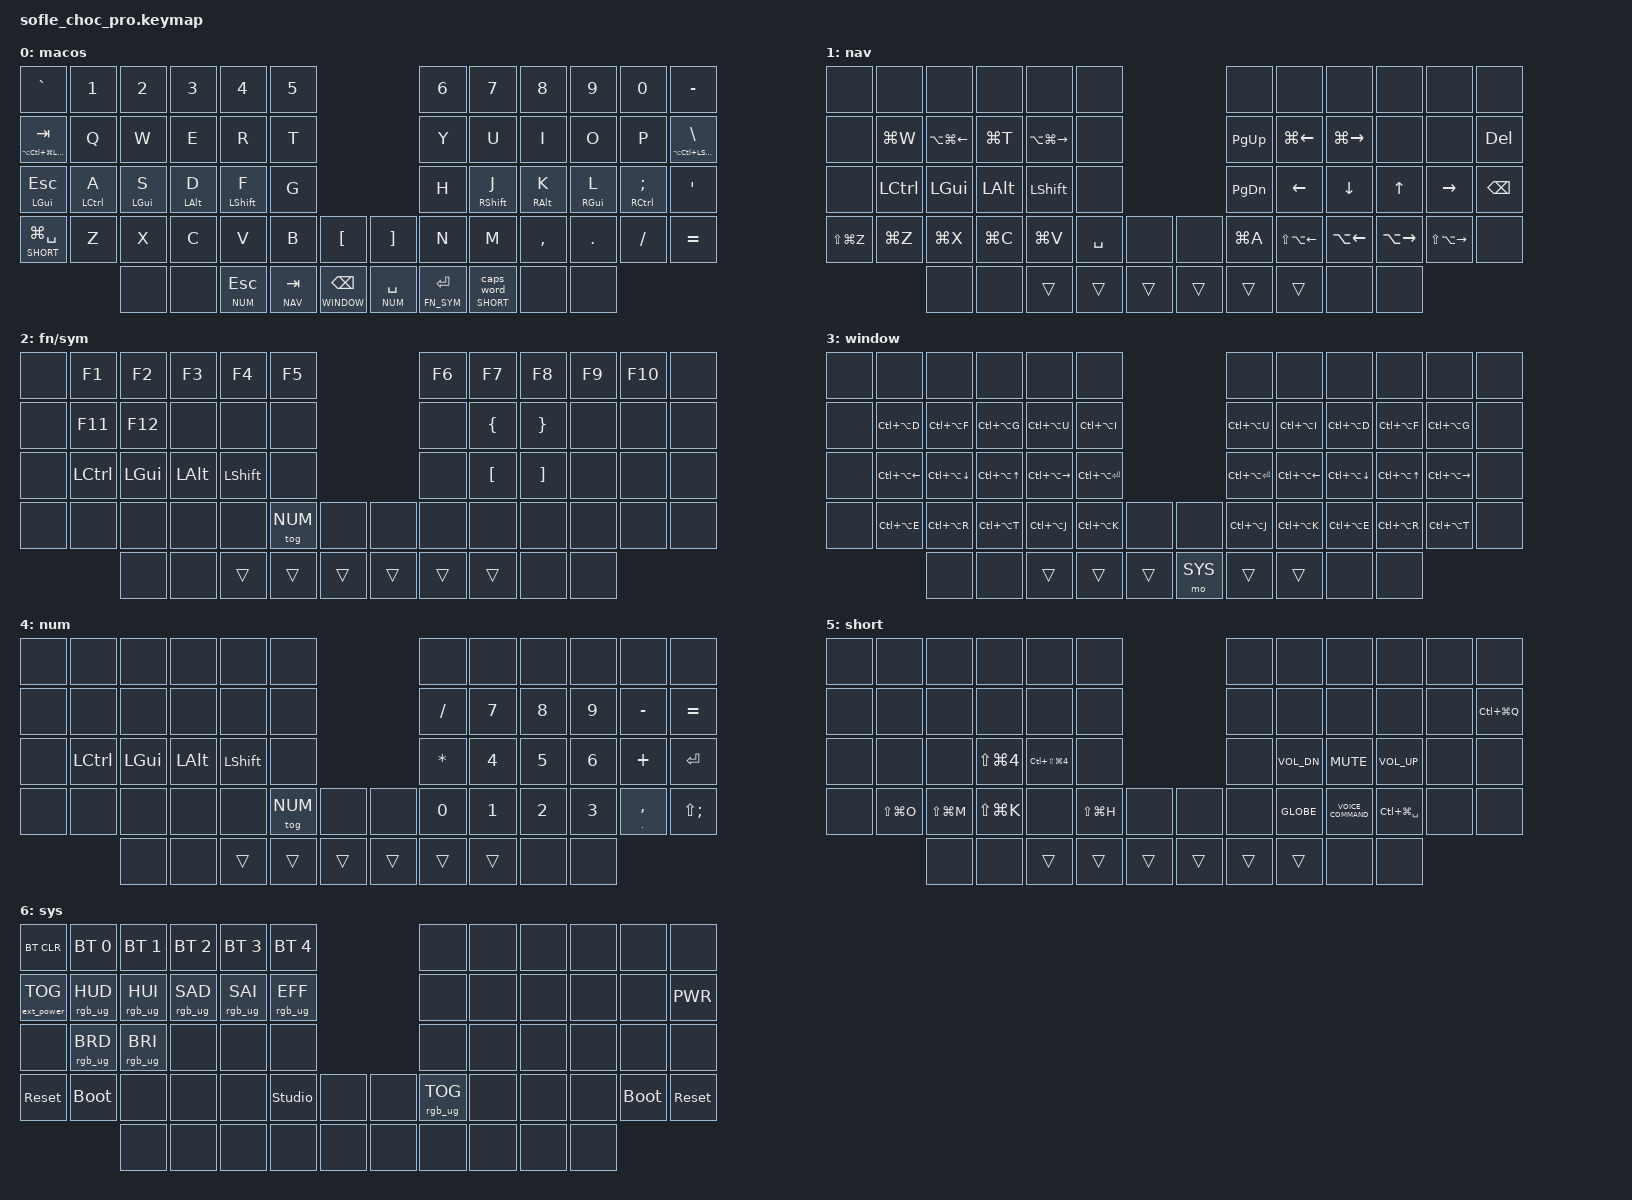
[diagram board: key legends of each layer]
/*
 * Copyright (c) 2020 The ZMK Contributors
 *
 * SPDX-License-Identifier: MIT
 */

#include <behaviors.dtsi>
#include <dt-bindings/zmk/keys.h>
#include <dt-bindings/zmk/bt.h>
#include <dt-bindings/zmk/rgb.h>
#include <dt-bindings/zmk/ext_power.h>

#define MACOS 0
#define NAV 1
#define FN_SYM 2
#define WINDOW 3
#define NUM 4
#define SHORT 5
#define SYS 6

#define LEFT_KEYS 0 1 2 3 4 5 12 13 14 15 16 17 24 25 26 27 28 29 36 37 38 39 40 41 42
#define RIGHT_KEYS 6 7 8 9 10 11 18 19 20 21 22 23 30 31 32 33 34 35 43 44 45 46 47 48 49
#define THUMBS 52 53 54 55 56 57

/ {
    behaviors {
        hml: home_row_mod_left {
            compatible = "zmk,behavior-hold-tap";
            #binding-cells = <2>;
            flavor = "balanced";
            tapping-term-ms = <280>;
            quick-tap-ms = <200>;
            bindings = <&kp>, <&kp>;
            hold-trigger-key-positions = <RIGHT_KEYS THUMBS>;
            hold-trigger-on-release;
            display-name = "Home-Row-Mod-Left";
        };

        hmr: home_row_mod_right {
            compatible = "zmk,behavior-hold-tap";
            #binding-cells = <2>;
            flavor = "balanced";
            tapping-term-ms = <280>;
            quick-tap-ms = <200>;
            bindings = <&kp>, <&kp>;
            hold-trigger-key-positions = <LEFT_KEYS THUMBS>;
            hold-trigger-on-release;
            display-name = "Home-Row-Mod-Right";
        };

        rlt: repeatable_layer_tap {
            compatible = "zmk,behavior-hold-tap";
            #binding-cells = <2>;
            flavor = "tap-preferred";
            tapping-term-ms = <200>;
            quick-tap-ms = <250>;
            bindings = <&mo>, <&kp>;
            display-name = "Repeatable-Layer-Tap";
        };

        lcw: layer_caps_word {
            compatible = "zmk,behavior-hold-tap";
            #binding-cells = <2>;
            flavor = "hold-preferred";
            tapping-term-ms = <200>;
            bindings = <&mo>, <&caps_word>;
            display-name = "Layer-Caps-Word";
        };

        hlt: hold_layer_tap {
            compatible = "zmk,behavior-hold-tap";
            #binding-cells = <2>;
            flavor = "hold-preferred";
            tapping-term-ms = <200>;
            bindings = <&mo>, <&kp>;
            display-name = "Hold-Layer-Tap";
        };

        rhlt: repeatable_hold_layer_tap {
            compatible = "zmk,behavior-hold-tap";
            #binding-cells = <2>;
            flavor = "hold-preferred";
            tapping-term-ms = <200>;
            quick-tap-ms = <250>;
            bindings = <&mo>, <&kp>;
            display-name = "Repeatable-Hold-Layer-Tap";
        };
    };
};

/ {
    keymap {
        compatible = "zmk,keymap";

        macos_layer {
            display-name = "macos";

            bindings = <
                &kp GRAVE                  &kp N1        &kp N2       &kp N3       &kp N4        &kp N5                                           &kp N6           &kp N7        &kp N8       &kp N9       &kp N0           &kp MINUS
                &mt LA(LC(LG(LSHFT))) TAB  &kp Q         &kp W        &kp E        &kp R         &kp T                                            &kp Y            &kp U         &kp I        &kp O        &kp P            &mt LA(LC(LSHFT)) BSLH
                &mt LGUI ESC               &hml LCTRL A  &hml LGUI S  &hml LALT D  &hml LSHFT F  &kp G                                            &kp H            &hmr RSHFT J  &hmr RALT K  &hmr RGUI L  &hmr RCTRL SEMI  &kp SQT
                &lt SHORT LG(SPACE)        &kp Z         &kp X        &kp C        &kp V         &kp B         &kp LBKT           &kp RBKT        &kp N            &kp M         &kp COMMA    &kp DOT      &kp FSLH         &kp EQUAL
                                                         &none        &none        &hlt NUM ESC  &hlt NAV TAB  &rhlt WINDOW BSPC  &rlt NUM SPACE  &hlt FN_SYM RET  &lcw SHORT 0  &none        &none
            >;
        };

        nav_layer {
            display-name = "nav";

            bindings = <
                &none          &none      &none             &none      &none              &none                      &none      &none             &none          &none          &none              &none
                &none          &kp LG(W)  &kp LA(LG(LEFT))  &kp LG(T)  &kp LA(LG(RIGHT))  &none                      &kp PG_UP  &kp LG(LEFT)      &kp LG(RIGHT)  &none          &none              &kp DEL
                &none          &kp LCTRL  &kp LGUI          &kp LALT   &kp LSHFT          &none                      &kp PG_DN  &kp LEFT          &kp DOWN       &kp UP         &kp RIGHT          &kp BSPC
                &kp LS(LG(Z))  &kp LG(Z)  &kp LG(X)         &kp LG(C)  &kp LG(V)          &kp SPACE  &none   &none   &kp LG(A)  &kp LS(LA(LEFT))  &kp LA(LEFT)   &kp LA(RIGHT)  &kp LS(LA(RIGHT))  &none
                                          &none             &none      &trans             &trans     &trans  &trans  &trans     &trans            &none          &none
            >;
        };

        fn_sym_layer {
            display-name = "fn/sym";

            bindings = <
                &none  &kp F1     &kp F2    &kp F3    &kp F4     &kp F5                    &kp F6  &kp F7    &kp F8    &kp F9  &kp F10  &none
                &none  &kp F11    &kp F12   &none     &none      &none                     &none   &kp LBRC  &kp RBRC  &none   &none    &none
                &none  &kp LCTRL  &kp LGUI  &kp LALT  &kp LSHFT  &none                     &none   &kp LBKT  &kp RBKT  &none   &none    &none
                &none  &none      &none     &none     &none      &tog NUM  &none   &none   &none   &none     &none     &none   &none    &none
                                  &none     &none     &trans     &trans    &trans  &trans  &trans  &trans    &none     &none
            >;
        };

        window_layer {
            display-name = "window";

            bindings = <
                &none  &none             &none             &none           &none              &none                             &none            &none             &none             &none           &none              &none
                &none  &kp LC(LA(D))     &kp LC(LA(F))     &kp LC(LA(G))   &kp LC(LA(U))      &kp LC(LA(I))                     &kp LC(LA(U))    &kp LC(LA(I))     &kp LC(LA(D))     &kp LC(LA(F))   &kp LC(LA(G))      &none
                &none  &kp LC(LA(LEFT))  &kp LC(LA(DOWN))  &kp LC(LA(UP))  &kp LC(LA(RIGHT))  &kp LC(LA(RET))                   &kp LC(LA(RET))  &kp LC(LA(LEFT))  &kp LC(LA(DOWN))  &kp LC(LA(UP))  &kp LC(LA(RIGHT))  &none
                &none  &kp LC(LA(E))     &kp LC(LA(R))     &kp LC(LA(T))   &kp LC(LA(J))      &kp LC(LA(K))    &none   &none    &kp LC(LA(J))    &kp LC(LA(K))     &kp LC(LA(E))     &kp LC(LA(R))   &kp LC(LA(T))      &none
                                         &none             &none           &trans             &trans           &trans  &mo SYS  &trans           &trans            &none             &none
            >;
        };

        num_layer {
            display-name = "num";

            bindings = <
                &none  &none      &none     &none     &none      &none                     &none      &none   &none   &none   &none          &none
                &none  &none      &none     &none     &none      &none                     &kp FSLH   &kp N7  &kp N8  &kp N9  &kp MINUS      &kp EQUAL
                &none  &kp LCTRL  &kp LGUI  &kp LALT  &kp LSHFT  &none                     &kp ASTRK  &kp N4  &kp N5  &kp N6  &kp PLUS       &kp RET
                &none  &none      &none     &none     &none      &tog NUM  &none   &none   &kp N0     &kp N1  &kp N2  &kp N3  &mt DOT COMMA  &kp LS(SEMI)
                                  &none     &none     &trans     &trans    &trans  &trans  &trans     &trans  &none   &none
            >;
        };

        short_layer {
            display-name = "short";

            bindings = <
                &none  &none          &none          &none           &none               &none                          &none   &none         &none                &none              &none  &none
                &none  &none          &none          &none           &none               &none                          &none   &none         &none                &none              &none  &kp LC(LG(Q))
                &none  &none          &none          &kp LS(LG(N4))  &kp LC(LS(LG(N4)))  &none                          &none   &kp C_VOL_DN  &kp C_MUTE           &kp C_VOL_UP       &none  &none
                &none  &kp LS(LG(O))  &kp LS(LG(M))  &kp LS(LG(K))   &none               &kp LS(LG(H))  &none   &none   &none   &kp GLOBE     &kp C_VOICE_COMMAND  &kp LC(LG(SPACE))  &none  &none
                                      &none          &none           &trans              &trans         &trans  &trans  &trans  &trans        &none                &none
            >;
        };

        sys_layer {
            display-name = "sys";

            bindings = <
                &bt BT_CLR         &bt BT_SEL 0     &bt BT_SEL 1     &bt BT_SEL 2     &bt BT_SEL 3     &bt BT_SEL 4                   &none            &none  &none  &none  &none        &none
                &ext_power EP_TOG  &rgb_ug RGB_HUD  &rgb_ug RGB_HUI  &rgb_ug RGB_SAD  &rgb_ug RGB_SAI  &rgb_ug RGB_EFF                &none            &none  &none  &none  &none        &kp C_PWR
                &none              &rgb_ug RGB_BRD  &rgb_ug RGB_BRI  &none            &none            &none                          &none            &none  &none  &none  &none        &none
                &sys_reset         &bootloader      &none            &none            &none            &studio_unlock   &none  &none  &rgb_ug RGB_TOG  &none  &none  &none  &bootloader  &sys_reset
                                                    &none            &none            &none            &none            &none  &none  &none            &none  &none  &none
            >;
        };

        /* Inactive backup of the tab/nav layer before it is repurposed.
        nav_backup_layer {
            display-name = "tab/nav-backup";

            bindings = <
                &kp ESC  &kp F1            &kp F2            &kp F3       &kp F4             &kp F5                              &kp F6         &kp F7         &kp F8         &kp F9         &kp F10            &kp DEL
                &trans   &kp LG(W)         &kp LA(LG(LEFT))  &kp LG(T)    &kp LA(LG(RIGHT))  &none                               &kp PG_UP      &kp LG(LEFT)   &kp UP         &kp LG(RIGHT)  &kp F11            &kp F12
                &trans   &kp LS(LA(LEFT))  &kp LA(LEFT)      &kp LG(TAB)  &kp LA(RIGHT)      &kp LS(LA(RIGHT))                   &kp PG_DN      &kp LEFT       &kp DOWN       &kp RIGHT      &none              &kp RALT
                &trans   &kp LG(Z)         &kp LG(X)         &kp LG(C)    &kp LG(V)          &kp SPACE          &kp DEL  &none   &kp LS(LG(O))  &kp LS(LG(M))  &kp LS(LG(H))  &none          &kp LC(LG(SPACE))  &kp RSHFT
                                           &none             &none        &kp GLOBE          &trans             &trans   &trans  &trans         &trans         &none          &none
            >;
        };
        */

        /* Inactive left-hand navigation reference.
        lnav_layer {
            display-name = "lnav";

            bindings = <
                &none          &kp LS(LA(LEFT))  &kp LA(LEFT)  &kp LG(A)  &kp LA(RIGHT)  &kp LS(LA(RIGHT))                  &none   &none      &none     &none     &none      &none
                &kp DEL        &none             &kp LG(LEFT)  &kp UP     &kp LG(RIGHT)  &kp PG_UP                          &none   &none      &none     &none     &none      &none
                &kp BSPC       &kp LSHFT         &kp LEFT      &kp DOWN   &kp RIGHT      &kp PG_DN                          &none   &kp RSHFT  &kp RALT  &kp RGUI  &kp RCTRL  &none
                &kp LS(LG(Z))  &kp LG(Z)         &kp LG(X)     &kp LG(C)  &kp LG(V)      &kp SPACE          &none   &none   &none   &none      &none     &none     &none      &none
                                                 &none         &none      &trans         &trans             &trans  &trans  &trans  &trans     &none     &none
            >;
        };
        */
    };
};
